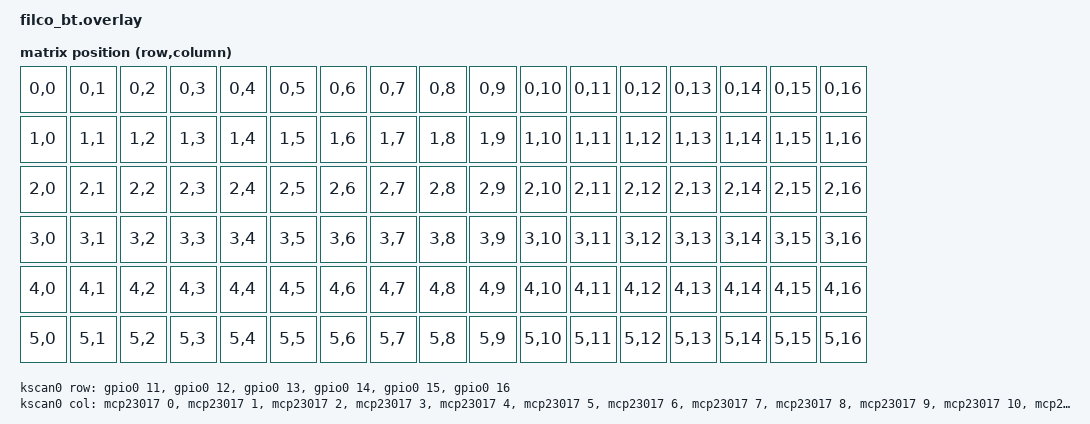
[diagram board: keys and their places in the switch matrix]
#include <dt-bindings/gpio/gpio.h>
#include <dt-bindings/zmk/matrix_transform.h>

/ {
    chosen {
        zmk,kscan = &kscan0;
        zmk,matrix-transform = &default_transform;
    };

    default_transform: keymap_transform_0 {
        compatible = "zmk,matrix-transform";
        rows = <6>;
        columns = <17>;
        map = <
            /* 6 x 17 slot, dùng RC() helper */
            RC(0,0) RC(0,1) RC(0,2) RC(0,3) RC(0,4) RC(0,5) RC(0,6) RC(0,7) RC(0,8) RC(0,9) RC(0,10) RC(0,11) RC(0,12) RC(0,13) RC(0,14) RC(0,15) RC(0,16)
            RC(1,0) RC(1,1) RC(1,2) RC(1,3) RC(1,4) RC(1,5) RC(1,6) RC(1,7) RC(1,8) RC(1,9) RC(1,10) RC(1,11) RC(1,12) RC(1,13) RC(1,14) RC(1,15) RC(1,16)
            RC(2,0) RC(2,1) RC(2,2) RC(2,3) RC(2,4) RC(2,5) RC(2,6) RC(2,7) RC(2,8) RC(2,9) RC(2,10) RC(2,11) RC(2,12) RC(2,13) RC(2,14) RC(2,15) RC(2,16)
            RC(3,0) RC(3,1) RC(3,2) RC(3,3) RC(3,4) RC(3,5) RC(3,6) RC(3,7) RC(3,8) RC(3,9) RC(3,10) RC(3,11) RC(3,12) RC(3,13) RC(3,14) RC(3,15) RC(3,16)
            RC(4,0) RC(4,1) RC(4,2) RC(4,3) RC(4,4) RC(4,5) RC(4,6) RC(4,7) RC(4,8) RC(4,9) RC(4,10) RC(4,11) RC(4,12) RC(4,13) RC(4,14) RC(4,15) RC(4,16)
            RC(5,0) RC(5,1) RC(5,2) RC(5,3) RC(5,4) RC(5,5) RC(5,6) RC(5,7) RC(5,8) RC(5,9) RC(5,10) RC(5,11) RC(5,12) RC(5,13) RC(5,14) RC(5,15) RC(5,16)
        >;
    };

    /* kscan: use gpio matrix driver */
    kscan0: kscan {
        compatible = "zmk,kscan-gpio-matrix";
        diode-direction = "col2row";
        wakeup-source;

        /* ROWS: use board's gpio controller (&gpio0)
           NOTE: change pin numbers below to match your wiring on nice_nano */
        row-gpios = <
            &gpio0 11 GPIO_ACTIVE_LOW  /* Row 0 */
            &gpio0 12 GPIO_ACTIVE_LOW  /* Row 1 */
            &gpio0 13 GPIO_ACTIVE_LOW  /* Row 2 */
            &gpio0 14 GPIO_ACTIVE_LOW  /* Row 3 */
            &gpio0 15 GPIO_ACTIVE_LOW  /* Row 4 */
            &gpio0 16 GPIO_ACTIVE_LOW  /* Row 5 */
        >;

        /* COLS: MCP23017 pins 0..15 + one native gpio for last column.
           Use GPIO_ACTIVE_LOW for typical sink-anode matrix; adapt to your wiring. */
        col-gpios = <
            &mcp23017 0 GPIO_ACTIVE_LOW
            &mcp23017 1 GPIO_ACTIVE_LOW
            &mcp23017 2 GPIO_ACTIVE_LOW
            &mcp23017 3 GPIO_ACTIVE_LOW
            &mcp23017 4 GPIO_ACTIVE_LOW
            &mcp23017 5 GPIO_ACTIVE_LOW
            &mcp23017 6 GPIO_ACTIVE_LOW
            &mcp23017 7 GPIO_ACTIVE_LOW
            &mcp23017 8 GPIO_ACTIVE_LOW
            &mcp23017 9 GPIO_ACTIVE_LOW
            &mcp23017 10 GPIO_ACTIVE_LOW
            &mcp23017 11 GPIO_ACTIVE_LOW
            &mcp23017 12 GPIO_ACTIVE_LOW
            &mcp23017 13 GPIO_ACTIVE_LOW
            &mcp23017 14 GPIO_ACTIVE_LOW
            &mcp23017 15 GPIO_ACTIVE_LOW
            &gpio0 10 GPIO_ACTIVE_LOW    /* last column (native pin) */
        >;

        debounce-press-ms = <5>;
        debounce-release-ms = <5>;
    };
};

/* I2C bus node - use the board's i2c controller name (&i2c0) */
&i2c0 {
    status = "okay";
    clock-frequency = <I2C_BITRATE_STANDARD>;
    #address-cells = <1>;
    #size-cells = <0>;

    mcp23017: gpio_expander@20 {
        compatible = "microchip,mcp23017";
        reg = <0x20>;
        status = "okay";
        gpio-controller;
        #gpio-cells = <2>;
        ngpios = <16>;
    };
};
